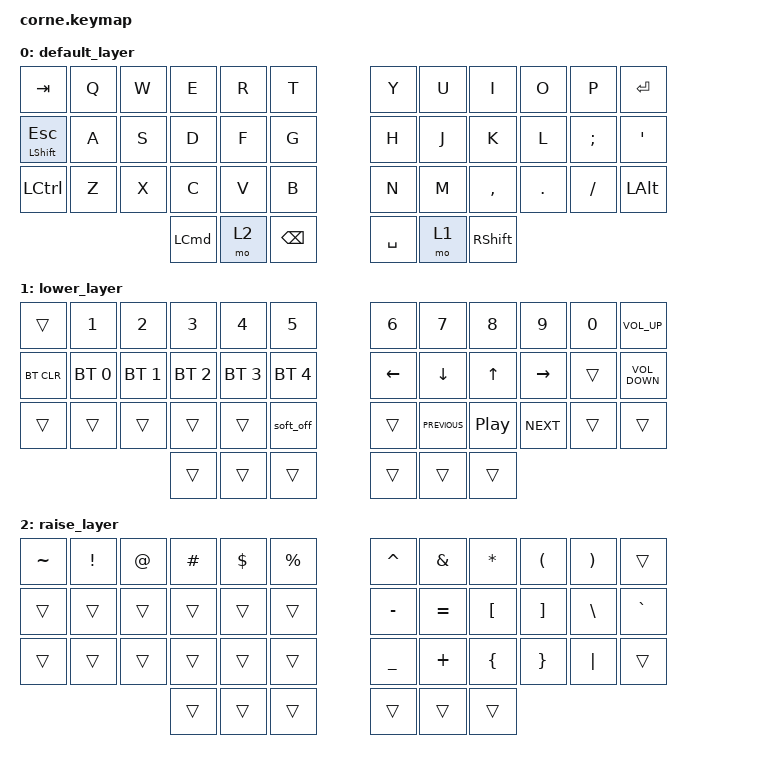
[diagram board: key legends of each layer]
/*
 * Copyright (c) 2020 The ZMK Contributors
 *
 * SPDX-License-Identifier: MIT
 */

#include <behaviors.dtsi>
#include <dt-bindings/zmk/bt.h>
#include <dt-bindings/zmk/keys.h>

/ {
    combos {
        compatible = "zmk,combos";

        delete {
            bindings = <&kp DELETE>;
            key-positions = <38 41>;
        };

        clear_line {
            bindings = <&kp LG(BACKSPACE)>;
            key-positions = <24 38>;
        };
    };

    behaviors {
        ht: ht {
            compatible = "zmk,behavior-hold-tap";
            label = "Hold Tap";
            bindings = <&kp>, <&kp>;

            #binding-cells = <2>;
            tapping-term-ms = <200>;
        };
    };

    keymap {
        compatible = "zmk,keymap";

        default_layer {
            // -----------------------------------------------------------------------------------------
            // |  TAB |  Q  |  W  |  E  |  R  |  T  |   |  Y  |  U   |  I  |  O  |  P  | BSPC |
            // | CTRL |  A  |  S  |  D  |  F  |  G  |   |  H  |  J   |  K  |  L  |  ;  |  '   |
            // | SHFT |  Z  |  X  |  C  |  V  |  B  |   |  N  |  M   |  ,  |  .  |  /  | ESC  |
            //                    | GUI | LWR | SPC |   | ENT | RSE  | ALT |

            bindings = <
&kp TAB                &kp Q  &kp W  &kp E             &kp R  &kp T            &kp Y      &kp U  &kp I            &kp O    &kp P     &kp ENTER
&ht LEFT_SHIFT ESCAPE  &kp A  &kp S  &kp D             &kp F  &kp G            &kp H      &kp J  &kp K            &kp L    &kp SEMI  &kp SQT
&kp LEFT_CONTROL       &kp Z  &kp X  &kp C             &kp V  &kp B            &kp N      &kp M  &kp COMMA        &kp DOT  &kp FSLH  &kp LEFT_ALT
                                     &kp LEFT_COMMAND  &mo 2  &kp BACKSPACE    &kp SPACE  &mo 1  &kp RIGHT_SHIFT
            >;
        };

        lower_layer {
            // -----------------------------------------------------------------------------------------
            // |  TAB |  1  |  2  |  3  |  4  |  5  |   |  6  |  7  |  8  |  9  |  0  | BSPC |
            // | BTCLR| BT1 | BT2 | BT3 | BT4 | BT5 |   | LFT | DWN |  UP | RGT |     |      |
            // | SHFT |     |     |     |     |     |   |     |     |     |     |     |      |
            //                    | GUI |     | SPC |   | ENT |     | ALT |

            bindings = <
&trans      &kp N1        &kp N2        &kp N3        &kp N4        &kp N5          &kp N6    &kp N7          &kp N8            &kp N9      &kp N0  &kp C_VOLUME_UP
&bt BT_CLR  &bt BT_SEL 0  &bt BT_SEL 1  &bt BT_SEL 2  &bt BT_SEL 3  &bt BT_SEL 4    &kp LEFT  &kp DOWN        &kp UP            &kp RIGHT   &trans  &kp C_VOLUME_DOWN
&trans      &trans        &trans        &trans        &trans        &soft_off       &trans    &kp C_PREVIOUS  &kp C_PLAY_PAUSE  &kp C_NEXT  &trans  &trans
                                        &trans        &trans        &trans          &trans    &trans          &trans
            >;
        };

        raise_layer {
            // -----------------------------------------------------------------------------------------
            // |  TAB |  !  |  @  |  #  |  $  |  %  |   |  ^  |  &  |  *  |  (  |  )  | BSPC |
            // | CTRL |     |     |     |     |     |   |  -  |  =  |  [  |  ]  |  \  |  `   |
            // | SHFT |     |     |     |     |     |   |  _  |  +  |  {  |  }  | "|" |  ~   |
            //                    | GUI |     | SPC |   | ENT |     | ALT |

            bindings = <
&kp TILDE  &kp EXCL  &kp AT  &kp HASH  &kp DLLR  &kp PRCNT    &kp CARET  &kp AMPS   &kp ASTRK  &kp LPAR  &kp RPAR  &trans
&trans     &trans    &trans  &trans    &trans    &trans       &kp MINUS  &kp EQUAL  &kp LBKT   &kp RBKT  &kp BSLH  &kp GRAVE
&trans     &trans    &trans  &trans    &trans    &trans       &kp UNDER  &kp PLUS   &kp LBRC   &kp RBRC  &kp PIPE  &trans
                             &trans    &trans    &trans       &trans     &trans     &trans
            >;
        };
    };
};
